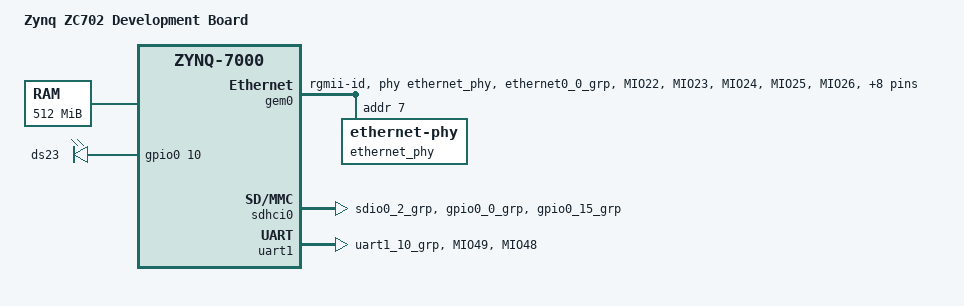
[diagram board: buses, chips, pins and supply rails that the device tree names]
/*
 *  Copyright (C) 2011 - 2014 Xilinx
 *  Copyright (C) 2012 National Instruments Corp.
 *
 * This software is licensed under the terms of the GNU General Public
 * License version 2, as published by the Free Software Foundation, and
 * may be copied, distributed, and modified under those terms.
 *
 * This program is distributed in the hope that it will be useful,
 * but WITHOUT ANY WARRANTY; without even the implied warranty of
 * MERCHANTABILITY or FITNESS FOR A PARTICULAR PURPOSE.  See the
 * GNU General Public License for more details.
 */
/dts-v1/;
/include/ "zynq-7000.dtsi"

/ {
	model = "Zynq ZC702 Development Board";
	compatible = "xlnx,zynq-zc702", "xlnx,zynq-7000";

	aliases {
		ethernet0 = &gem0;
		serial0 = &uart1;
		mmc0 = &sdhci0;
	};

	cpus {
		cpu@0 {
			operating-points = <666666 1000000 333333 1000000>;
		};
	};

	memory {
		device_type = "memory";
		reg = <0x0 0x20000000>;
	};

	chosen {
		bootargs = "console=ttyPS0,115200 root=/dev/ram rw ip=:::::eth0:dhcp earlyprintk";
		stdout-path = "serial0:115200n8";
	};

	leds {
		compatible = "gpio-leds";

		ds23 {
			label = "ds23";
			gpios = <&gpio0 10 0>;
			linux,default-trigger = "heartbeat";
		};
	};

};

&intc {
	num_cpus = <2>;
	num_interrupts = <96>;
};

&amba {
	ocm: sram@fffc0000 {
		compatible = "mmio-sram";
		reg = <0xfffc0000 0x10000>;
	};
};

&clkc {
	fclk-enable = <0x1>;
	ps-clk-frequency = <33333333>;
};

&gem0 {
	status = "okay";
	phy-mode = "rgmii-id";
	phy-handle = <&ethernet_phy>;
	pinctrl-names = "default";
	pinctrl-0 = <&pinctrl_gem0_default>;
	phy-reset-gpio = <&gpio0 11 0>;
	phy-reset-active-low;

	ethernet_phy: ethernet-phy@7 {
		reg = <7>;
	};
};

&gpio0 {
	emio-gpio-width = <1>;
	gpio-mask-high = <0x0>;
	gpio-mask-low = <0x5600>;
	pinctrl-names = "default";
	pinctrl-0 = <&pinctrl_gpio0_default>;
};

&pinctrl0 {
	pinctrl_gem0_default: gem0-default {
		mux {
			function = "ethernet0";
			groups = "ethernet0_0_grp";
		};

		conf {
			groups = "ethernet0_0_grp";
			slew-rate = <0>;
			io-standard = <4>;
		};

		conf-rx {
			pins = "MIO22", "MIO23", "MIO24", "MIO25", "MIO26", "MIO27";
			bias-high-impedance;
			low-power-disable;
		};

		conf-tx {
			pins = "MIO16", "MIO17", "MIO18", "MIO19", "MIO20", "MIO21";
			bias-disable;
			low-power-enable;
		};

		mux-mdio {
			function = "mdio0";
			groups = "mdio0_0_grp";
		};

		conf-mdio {
			groups = "mdio0_0_grp";
			slew-rate = <0>;
			io-standard = <1>;
			bias-disable;
		};
	};

	pinctrl_gpio0_default: gpio0-default {
		mux {
			function = "gpio0";
			groups = "gpio0_7_grp", "gpio0_8_grp", "gpio0_9_grp",
				 "gpio0_10_grp", "gpio0_11_grp", "gpio0_12_grp",
				 "gpio0_13_grp", "gpio0_14_grp";
		};

		conf {
			groups = "gpio0_7_grp", "gpio0_8_grp", "gpio0_9_grp",
				 "gpio0_10_grp", "gpio0_11_grp", "gpio0_12_grp",
				 "gpio0_13_grp", "gpio0_14_grp";
			slew-rate = <0>;
			io-standard = <1>;
		};

		conf-pull-up {
			pins = "MIO9", "MIO10", "MIO11", "MIO12", "MIO13", "MIO14";
			bias-pull-up;
		};

		conf-pull-none {
			pins = "MIO7", "MIO8";
			bias-disable;
		};
	};

	pinctrl_sdhci0_default: sdhci0-default {
		mux {
			groups = "sdio0_2_grp";
			function = "sdio0";
		};

		conf {
			groups = "sdio0_2_grp";
			slew-rate = <0>;
			io-standard = <1>;
			bias-disable;
		};

		mux-cd {
			groups = "gpio0_0_grp";
			function = "sdio0_cd";
		};

		conf-cd {
			groups = "gpio0_0_grp";
			bias-high-impedance;
			bias-pull-up;
			slew-rate = <0>;
			io-standard = <1>;
		};

		mux-wp {
			groups = "gpio0_15_grp";
			function = "sdio0_wp";
		};

		conf-wp {
			groups = "gpio0_15_grp";
			bias-high-impedance;
			bias-pull-up;
			slew-rate = <0>;
			io-standard = <1>;
		};
	};

	pinctrl_uart1_default: uart1-default {
		mux {
			groups = "uart1_10_grp";
			function = "uart1";
		};

		conf {
			groups = "uart1_10_grp";
			slew-rate = <0>;
			io-standard = <1>;
		};

		conf-rx {
			pins = "MIO49";
			bias-high-impedance;
		};

		conf-tx {
			pins = "MIO48";
			bias-disable;
		};
	};

};

&sdhci0 {
	status = "okay";
	pinctrl-names = "default";
	pinctrl-0 = <&pinctrl_sdhci0_default>;
	xlnx,has-cd = <0x1>;
	xlnx,has-power = <0x0>;
	xlnx,has-wp = <0x1>;
};

&uart1 {
	status = "okay";
	pinctrl-names = "default";
	pinctrl-0 = <&pinctrl_uart1_default>;
};
